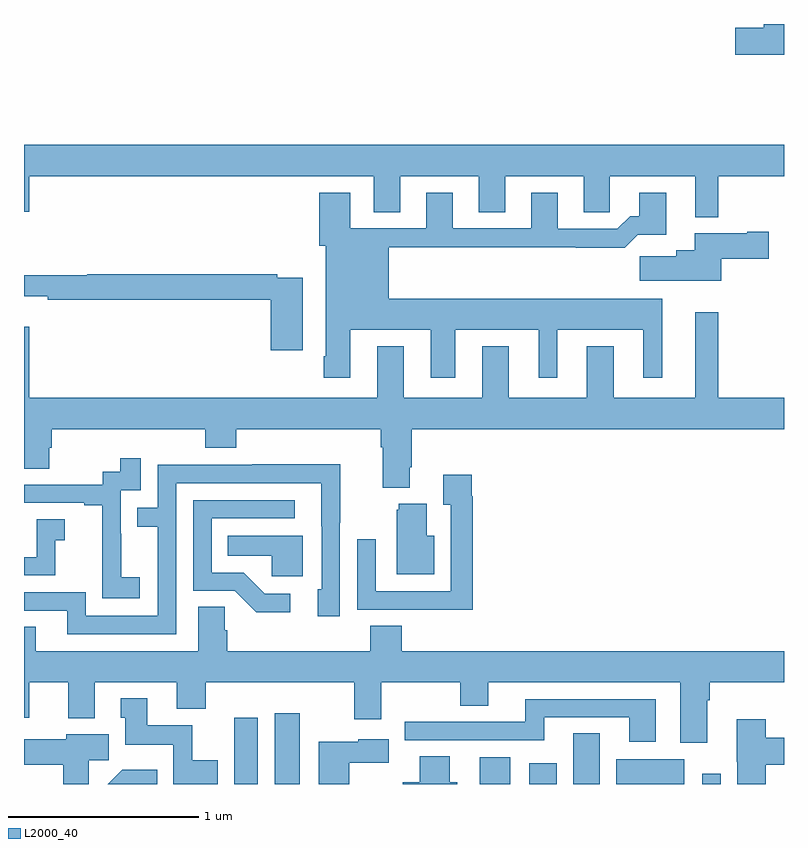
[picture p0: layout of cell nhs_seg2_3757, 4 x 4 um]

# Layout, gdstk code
import gdstk
lib = gdstk.Library(unit=1e-6, precision=1e-09)
def R(c, l, rs):  # rectangles x0, y0, x1, y1
    for r in rs: c.add(gdstk.rectangle(r[:2], r[2:], *l))
def P(c, l, *ps):  # polygons
    for p in ps: c.add(gdstk.Polygon(p, *l))
L2000_40 = (2000, 40)

nhs_seg2_3757 = lib.new_cell('nhs_seg2_3757')
R(nhs_seg2_3757, L2000_40, [(310.106,613.8,310.231,614.149), (310.319,613.8,310.45,614.173), (311.399,613.8,311.56,613.942), (311.66,613.8,311.803,613.909), (311.891,613.8,312.031,614.066), (312.116,613.8,312.475,613.93), (312.57,613.8,312.666,613.855)])
P(nhs_seg2_3757, L2000_40, [(313,617.8),(312.893,617.8),(312.893,617.78),(312.744,617.78),(312.744,617.638),(313,617.638)],
  [(312.655,617),(313,617),(313,617.164),(309,617.164),(309,616.812),(309.028,616.812),(309.028,617),(310.841,617),(310.841,616.81),(310.981,616.81),(310.981,617),(311.393,617),(311.393,616.81),(311.533,616.81),(311.533,617),(311.945,617),(311.945,616.81),(312.084,616.81),(312.084,617),(312.533,617),(312.533,616.784),(312.655,616.784)],
  [(310.717,616.19),(311.141,616.19),(311.141,615.939),(311.269,615.939),(311.269,616.19),(311.708,616.19),(311.708,615.939),(311.806,615.939),(311.806,616.19),(312.26,616.19),(312.26,615.939),(312.358,615.939),(312.358,616.354),(310.921,616.354),(310.921,616.624),(311.905,616.624),(311.905,616.622),(312.161,616.622),(312.23,616.691),(312.379,616.691),(312.379,616.912),(312.239,616.912),(312.239,616.789),(312.19,616.789),(312.123,616.722),(311.809,616.722),(311.809,616.912),(311.669,616.912),(311.669,616.725),(311.257,616.725),(311.257,616.912),(311.117,616.912),(311.117,616.725),(310.717,616.725),(310.717,616.912),(310.553,616.912),(310.553,616.632),(310.589,616.632),(310.589,616.051),(310.577,616.051),(310.577,615.939),(310.717,615.939)],
  [(312.67,616.565),(312.919,616.565),(312.919,616.707),(312.806,616.707),(312.806,616.699),(312.53,616.699),(312.53,616.609),(312.434,616.609),(312.434,616.577),(312.24,616.577),(312.24,616.448),(312.67,616.448)],
  [(310.468,616.464),(310.334,616.464),(310.334,616.484),(309.334,616.484),(309.334,616.477),(309,616.477),(309,616.367),(309.124,616.367),(309.124,616.348),(310.298,616.348),(310.298,616.083),(310.468,616.083)],
  [(311.029,615.466),(311.042,615.466),(311.042,615.668),(313,615.668),(313,615.832),(312.655,615.832),(312.655,616.282),(312.533,616.282),(312.533,615.832),(312.103,615.832),(312.103,616.105),(311.963,616.105),(311.963,615.832),(311.551,615.832),(311.551,616.105),(311.411,616.105),(311.411,615.832),(310.999,615.832),(310.999,616.105),(310.859,616.105),(310.859,615.832),(309.028,615.832),(309.028,616.207),(309,616.207),(309,615.46),(309.133,615.46),(309.133,615.57),(309.146,615.57),(309.146,615.668),(309.953,615.668),(309.953,615.569),(310.118,615.569),(310.118,615.668),(310.877,615.668),(310.877,615.572),(310.889,615.572),(310.889,615.359),(311.029,615.359)],
  [(309.61,614.887),(309.512,614.887),(309.512,615.116),(309.51,615.116),(309.51,615.345),(309.615,615.345),(309.615,615.514),(309.507,615.514),(309.507,615.444),(309.414,615.444),(309.414,615.375),(309,615.375),(309,615.279),(309.317,615.279),(309.317,615.267),(309.413,615.267),(309.413,614.983),(309.412,614.983),(309.412,614.777),(309.61,614.777)],
  [(309.801,615.384),(310.565,615.384),(310.565,615.157),(310.566,615.157),(310.566,614.826),(310.547,614.826),(310.547,614.682),(310.662,614.682),(310.662,615.175),(310.665,615.175),(310.665,615.482),(310.201,615.482),(310.201,615.48),(309.705,615.48),(309.705,615.255),(309.595,615.255),(309.595,615.154),(309.705,615.154),(309.705,614.685),(309.324,614.685),(309.324,614.808),(309,614.808),(309,614.712),(309.227,614.712),(309.227,614.589),(309.801,614.589)],
  [(311.363,615.314),(311.356,615.314),(311.356,615.427),(311.207,615.427),(311.207,615.271),(311.247,615.271),(311.247,614.814),(310.851,614.814),(310.851,615.088),(310.755,615.088),(310.755,614.718),(311.071,614.718),(311.071,614.717),(311.363,614.717)],
  [(310.402,614.802),(310.267,614.802),(310.156,614.913),(309.987,614.913),(309.987,615.198),(310.426,615.198),(310.426,615.294),(309.891,615.294),(309.891,614.817),(310.11,614.817),(310.223,614.705),(310.402,614.705)],
  [(311.158,615.106),(311.119,615.106),(311.119,615.274),(310.973,615.274),(310.973,615.243),(310.961,615.243),(310.961,614.903),(311.158,614.903)],
  [(309.165,615.083),(309.214,615.083),(309.214,615.193),(309.066,615.193),(309.066,614.994),(309,614.994),(309,614.898),(309.165,614.898)],
  [(310.468,615.106),(310.072,615.106),(310.072,615.002),(310.303,615.002),(310.303,614.894),(310.468,614.894)],
  [(312.595,614.24),(312.608,614.24),(312.608,614.336),(313,614.336),(313,614.5),(310.988,614.5),(310.988,614.633),(310.823,614.633),(310.823,614.5),(310.07,614.5),(310.07,614.609),(310.056,614.609),(310.056,614.732),(309.917,614.732),(309.917,614.5),(309.061,614.5),(309.061,614.627),(309,614.627),(309,614.148),(309.028,614.148),(309.028,614.336),(309.233,614.336),(309.233,614.147),(309.373,614.147),(309.373,614.336),(309.803,614.336),(309.803,614.195),(309.956,614.195),(309.956,614.336),(310.739,614.336),(310.739,614.142),(310.879,614.142),(310.879,614.336),(311.296,614.336),(311.296,614.212),(311.443,614.212),(311.443,614.336),(312.455,614.336),(312.455,614.016),(312.595,614.016)],
  [(310.021,613.924),(309.885,613.924),(309.885,614.11),(309.649,614.11),(309.649,614.251),(309.509,614.251),(309.509,614.148),(309.533,614.148),(309.533,614.006),(309.786,614.006),(309.786,613.8),(310.021,613.8)],
  [(312.325,614.247),(311.639,614.247),(311.639,614.127),(311.005,614.127),(311.005,614.031),(311.737,614.031),(311.737,614.151),(312.185,614.151),(312.185,614.022),(312.325,614.022)],
  [(312.905,613.901),(313,613.901),(313,614.043),(312.905,614.043),(312.905,614.14),(312.752,614.14),(312.752,613.917),(312.755,613.917),(312.755,613.8),(312.905,613.8)],
  [(309.34,613.924),(309.445,613.924),(309.445,614.062),(309.222,614.062),(309.222,614.035),(309,614.035),(309,613.901),(309.206,613.901),(309.206,613.8),(309.34,613.8)],
  [(310.712,613.913),(310.92,613.913),(310.92,614.035),(310.758,614.035),(310.758,614.023),(310.55,614.023),(310.55,613.8),(310.712,613.8)],
  [(311.281,613.81),(311.242,613.81),(311.242,613.946),(311.084,613.946),(311.084,613.81),(310.994,613.81),(310.994,613.8),(311.281,613.8)],
  [(309.701,613.876),(309.518,613.876),(309.442,613.8),(309.701,613.8)])

lib.write_gds('nhs_seg2_3757.gds')
